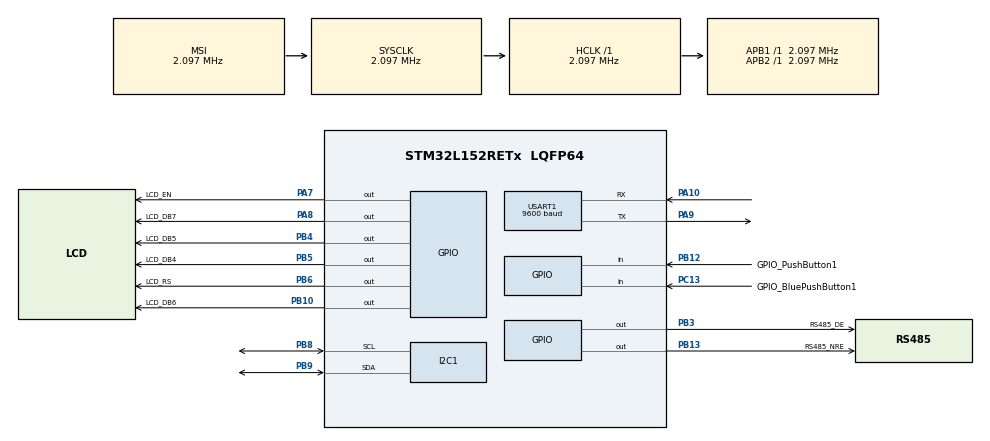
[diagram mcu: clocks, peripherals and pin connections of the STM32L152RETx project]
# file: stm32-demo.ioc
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Mcu.Family=STM32L1
Mcu.Name=STM32L152RETx
Mcu.Package=LQFP64
NVIC.PriorityGroup=NVIC_PRIORITYGROUP_4
PA10.Mode=Asynchronous
PA10.Signal=USART1_RX
PA7.GPIO_Label=LCD_EN
PA7.Signal=GPIO_Output
PA8.GPIO_Label=LCD_DB7
PA8.Signal=GPIO_Output
PA9.Mode=Asynchronous
PA9.Signal=USART1_TX
PB10.GPIO_Label=LCD_DB6
PB10.Signal=GPIO_Output
PB12.GPIO_Label=GPIO_PushButton1
PB12.Signal=GPIO_Input
PB13.GPIO_Label=RS485_NRE
PB13.Signal=GPIO_Output
PB3.GPIO_Label=RS485_DE
PB3.Signal=GPIO_Output
PB4.GPIO_Label=LCD_DB5
PB4.Signal=GPIO_Output
PB5.GPIO_Label=LCD_DB4
PB5.Signal=GPIO_Output
PB6.GPIO_Label=LCD_RS
PB6.Signal=GPIO_Output
PB8.Mode=I2C
PB8.Signal=I2C1_SCL
PB9.Mode=I2C
PB9.Signal=I2C1_SDA
PC13-WKUP2.GPIO_Label=GPIO_BluePushButton1
PC13-WKUP2.Signal=GPIO_Input
ProjectManager.HeapSize=0x200
ProjectManager.StackSize=0x400
ProjectManager.TargetToolchain=STM32CubeIDE
RCC.AHBFreq_Value=2097000
RCC.APB1Freq_Value=2097000
RCC.APB2Freq_Value=2097000
RCC.HSE_VALUE=24000000
RCC.HSI_VALUE=16000000
RCC.LSE_VALUE=32768
RCC.MSI_VALUE=2097000
RCC.SYSCLKFreq_VALUE=2097000
RCC.VCOOutputFreq_Value=48000000
USART1.BaudRate=9600
USART1.VirtualMode=VM_ASYNC
board=custom

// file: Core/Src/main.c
/* USER CODE BEGIN Header */
/**
 ******************************************************************************
 * @file           : main.c
 * @brief          : Main program body
 ******************************************************************************
 * @attention
 *
 * <h2><center>&copy; Copyright (c) 2021 STMicroelectronics.
 * All rights reserved.</center></h2>
 *
 * This software component is licensed by ST under BSD 3-Clause license,
 * the "License"; You may not use this file except in compliance with the
 * License. You may obtain a copy of the License at:
 *                        opensource.org/licenses/BSD-3-Clause
 *
 ******************************************************************************
 */
/* USER CODE END Header */
#include "main.h"
#include "i2c.h"
#include "usart.h"
#include "gpio.h"

/* USER CODE BEGIN Includes */

#include <cpu.h>
#include <lib_mem.h>
#include <os.h>

#include <bsp_clk.h>
#include <bsp_os.h>
#include <bsp_int.h>

#include "os_app_hooks.h"

/* USER CODE END Includes */

/* USER CODE BEGIN PV */

static OS_TCB StartupTaskTCB;
static CPU_STK StartupTaskStk[128u];

/* USER CODE END PV */

void SystemClock_Config(void);
/* USER CODE BEGIN PFP */

static void StartupTask(void *p_arg);

/* USER CODE END PFP */

int main(void)
{
  /* USER CODE BEGIN 1 */
	OS_ERR os_err;
  /* USER CODE END 1 */

  /* MCU Configuration--------------------------------------------------------*/

  /* Reset of all peripherals, Initializes the Flash interface and the Systick. */
  HAL_Init();

  /* Configure the system clock */
  SystemClock_Config();

  /* USER CODE BEGIN SysInit */

	BSP_OS_TickInit();

//	Mem_Init();
//	CPU_IntDis();
//	CPU_Init();

	OSInit(&os_err);

	if (os_err != OS_ERR_NONE)
	{
		Error_Handler();
	}

	App_OS_SetAllHooks();

	OSTaskCreate(&StartupTaskTCB,
			"Startup Task", StartupTask, 0u, 3u,
			StartupTaskStk, StartupTaskStk[128u / 10u], 128u, 0, 0, 0,
			(OS_OPT_TASK_STK_CHK | OS_OPT_TASK_STK_CLR ), &os_err);

	if (os_err != OS_ERR_NONE)
	{
		Error_Handler();
	}
  /* USER CODE END SysInit */

  /* Initialize all configured peripherals */
  MX_GPIO_Init();
  MX_I2C1_Init();
  MX_USART1_UART_Init();
  /* USER CODE BEGIN 2 */

	OSStart(&os_err);

//	App_Init();

  /* USER CODE END 2 */

  /* Infinite loop */
  /* USER CODE BEGIN WHILE */
	while (1)
	{
		;
    /* USER CODE END WHILE */

	}
}

void SystemClock_Config(void)
{
  RCC_OscInitTypeDef RCC_OscInitStruct = {0};
  RCC_ClkInitTypeDef RCC_ClkInitStruct = {0};

  /** Configure the main internal regulator output voltage
  */
  __HAL_PWR_VOLTAGESCALING_CONFIG(PWR_REGULATOR_VOLTAGE_SCALE1);
  /** Initializes the RCC Oscillators according to the specified parameters
  * in the RCC_OscInitTypeDef structure.
  */
  RCC_OscInitStruct.OscillatorType = RCC_OSCILLATORTYPE_MSI;
  RCC_OscInitStruct.MSIState = RCC_MSI_ON;
  RCC_OscInitStruct.MSICalibrationValue = 0;
  RCC_OscInitStruct.MSIClockRange = RCC_MSIRANGE_5;
  RCC_OscInitStruct.PLL.PLLState = RCC_PLL_NONE;
  if (HAL_RCC_OscConfig(&RCC_OscInitStruct) != HAL_OK)
  {
    Error_Handler();
  }
  /** Initializes the CPU, AHB and APB buses clocks
  */
  RCC_ClkInitStruct.ClockType = RCC_CLOCKTYPE_HCLK|RCC_CLOCKTYPE_SYSCLK
                              |RCC_CLOCKTYPE_PCLK1|RCC_CLOCKTYPE_PCLK2;
  RCC_ClkInitStruct.SYSCLKSource = RCC_SYSCLKSOURCE_MSI;
  RCC_ClkInitStruct.AHBCLKDivider = RCC_SYSCLK_DIV1;
  RCC_ClkInitStruct.APB1CLKDivider = RCC_HCLK_DIV1;
  RCC_ClkInitStruct.APB2CLKDivider = RCC_HCLK_DIV1;

  if (HAL_RCC_ClockConfig(&RCC_ClkInitStruct, FLASH_LATENCY_0) != HAL_OK)
  {
    Error_Handler();
  }
}

/* USER CODE BEGIN 4 */
static void StartupTask(void *p_arg)
{
	OS_ERR os_err;

	(void)p_arg; // Unused.

	BSP_OS_TickEnable();

	OSStatTaskCPUUsageInit(&os_err);

	App_Init();

	while (TRUE)
	{
		App_Task();
	}
}
/* USER CODE END 4 */

void Error_Handler(void)
{
	__disable_irq();
	while (1)
	{
	}
}

/************************ (C) COPYRIGHT STMicroelectronics *****END OF FILE****/
